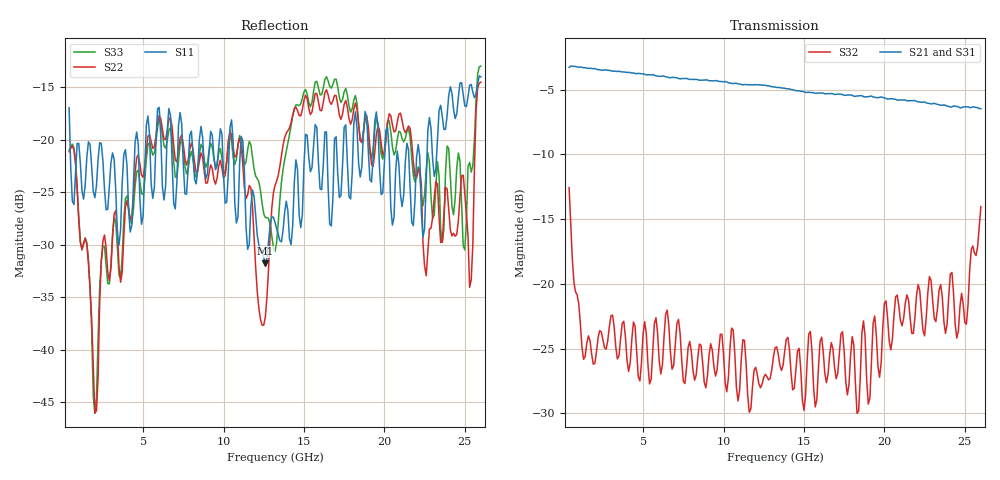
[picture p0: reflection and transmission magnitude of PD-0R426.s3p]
! MARKI MICROWAVE INC.
! Email:  info@markimicrowave.com  Phone:  408-778-4200
! Model Number:  PD0R426  Date:  07/11
! Filename:		PD-0R426.S3P  Version: 1.0
! Description:  3-port S-parameter data for Power Divider PD0R426
! Frequency Range: 	0.4 GHz to 26 GHz
! Port Configuration:	PORT 1: COMMON, PORT 2 and Port 3: Output
! S3P File: Measurements: Mag<S11> Ang<S11> Mag<S12> Ang<S12> Mag<S13> Ang<S13>! row 1
!  Mag<S21> Ang<S21> Mag<S22> Ang<S22> Mag<S23> Ang<S23>! row 2
!  Mag<S31> Ang<S31> Mag<S32> Ang<S32> Mag<S33> Ang<S33>! row 3
# GHz S DB R 50
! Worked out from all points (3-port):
!   257 points, 400 MHz to 26 GHz, reference 50 ohm
!   strongest paths, dB at 400 MHz, 6.8 GHz, 13.2 GHz, 19.6 GHz, 26 GHz:
!     S21: -3.3, -4.1, -4.8, -5.6, -6.5
!     S31: -3.3, -4.1, -5.0, -5.8, -6.4
!     S32: -12.6, -26.6, -25.0, -26.4, -14.0
!   lowest |S11| = -31.8 dB at 12.6 GHz (marker M1), VSWR 1.05, Z = 51.1 - j2.36 ohm
!   |S11| at or under -10 dB: start of sweep to end of sweep
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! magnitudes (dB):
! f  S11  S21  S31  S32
! 400 MHz  -16.9  -3.3  -3.3  -12.6
! 2 GHz  -25.5  -3.4  -3.4  -26.1
! 2.5 GHz  -22.0  -3.5  -3.5  -24.3
! 6 GHz  -16.9  -4.0  -4.0  -25.9
! 12.6 GHz  -31.8  -4.7  -4.8  -27.0
! 13.2 GHz  -27.9  -4.8  -5.0  -25.0
! 16.4 GHz  -19.3  -5.3  -5.5  -27.6
! 22.4 GHz  -29.3  -6.0  -6.0  -23.6
! 25.3 GHz  -14.8  -6.4  -6.3  -19.0
! 26 GHz  -14.0  -6.5  -6.4  -14.0
